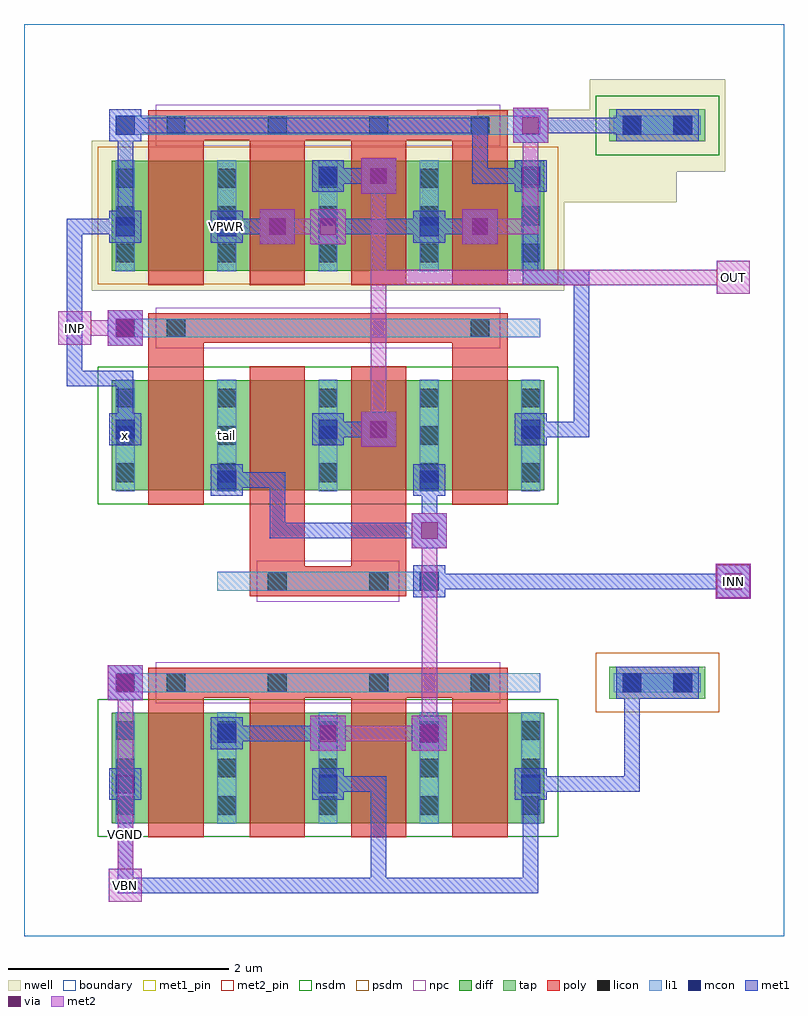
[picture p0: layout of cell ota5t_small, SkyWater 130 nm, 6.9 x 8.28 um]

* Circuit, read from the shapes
.subckt ota5t_small INN INP OUT VBN VGND VPWR tail x
XM1 tail VBN VGND VGND sky130_fd_pr__nfet_01v8 w=1 l=0.5 m=4
XM2 tail INP x VGND sky130_fd_pr__nfet_01v8 w=1 l=0.5 m=2
XM3 OUT INN tail VGND sky130_fd_pr__nfet_01v8 w=1 l=0.5 m=2
XM4 VPWR x x VPWR sky130_fd_pr__pfet_01v8 w=1 l=0.5 m=2
XM5 OUT x VPWR VPWR sky130_fd_pr__pfet_01v8 w=1 l=0.5 m=2
.ends

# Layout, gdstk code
import gdstk
lib = gdstk.Library(unit=1e-6, precision=1e-09)
def R(c, l, rs):  # rectangles x0, y0, x1, y1
    for r in rs: c.add(gdstk.rectangle(r[:2], r[2:], *l))
def A(c, l, x, y, w, h, nx, ny, dx, dy):  # array of equal rectangles
    R(c, l, [(x+i*dx, y+j*dy, x+i*dx+w, y+j*dy+h) for i in range(nx) for j in range(ny)])
nwell = (64, 20)
diff = (65, 20)
tap = (65, 44)
poly = (66, 20)
licon = (66, 44)
li1 = (67, 20)
mcon = (67, 44)
met1_pin = (68, 16)
met1 = (68, 20)
via = (68, 44)
met2_pin = (69, 16)
met2 = (69, 20)
nsdm = (93, 44)
psdm = (94, 20)
npc = (95, 20)
boundary = (235, 4)

ota5t_small = lib.new_cell('ota5t_small')
R(ota5t_small, nwell, [(0.615,5.86,4.905,6.66), (0.615,6.66,5.927,6.94), (0.615,6.94,6.365,7.22), (4.113,7.22,6.365,7.5), (5.135,7.5,6.365,7.78)])
R(ota5t_small, diff, [(0.795,1.025,4.725,2.025), (0.795,4.045,4.725,5.045), (0.795,6.04,4.725,7.04)])
R(ota5t_small, tap, [(5.315,2.155,6.185,2.445), (5.315,7.215,6.185,7.505)])
A(ota5t_small, poly, 1.13, 0.895, 0.5, 1.405, 4, 1, 0.92, 0)
A(ota5t_small, poly, 1.13, 5.91, 0.5, 1.45, 4, 1, 0.92, 0)
R(ota5t_small, poly, [(1.13,2.165,4.39,2.435), (2.05,3.085,3.47,3.355), (2.05,3.22,2.55,5.175), (2.97,3.22,3.47,5.175), (1.13,3.915,1.63,5.52), (3.89,3.915,4.39,5.52), (1.13,5.385,4.39,5.655), (1.13,7.225,4.39,7.495)])
A(ota5t_small, licon, 0.835, 1.1, 0.17, 0.17, 5, 3, 0.92, 0.34)
A(ota5t_small, licon, 1.295, 2.215, 0.17, 0.17, 4, 2, 0.92, 5.06)
A(ota5t_small, licon, 0.835, 4.12, 0.17, 0.17, 5, 3, 0.92, 0.34)
A(ota5t_small, licon, 0.835, 6.115, 0.17, 0.17, 5, 3, 0.92, 0.34)
R(ota5t_small, licon, [(5.435,2.215,5.605,2.385), (5.895,2.215,6.065,2.385), (2.215,3.135,2.385,3.305), (3.135,3.135,3.305,3.305), (1.295,5.435,1.465,5.605), (4.055,5.435,4.225,5.605), (5.435,7.275,5.605,7.445), (5.895,7.275,6.065,7.445)])
A(ota5t_small, li1, 0.835, 1.02, 0.17, 1.01, 5, 2, 0.92, 3.02)
A(ota5t_small, li1, 0.835, 6.035, 0.17, 1.01, 5, 1, 0.92, 0)
R(ota5t_small, li1, [(0.835,2.215,4.685,2.385), (5.355,2.215,6.145,2.385), (1.755,3.135,3.765,3.305), (0.835,5.435,4.685,5.605), (0.835,7.275,4.685,7.445), (5.355,7.275,6.145,7.445)])
A(ota5t_small, mcon, 0.835, 1.295, 0.17, 0.17, 3, 2, 1.84, 3.22)
A(ota5t_small, mcon, 1.755, 1.755, 0.17, 0.17, 1, 3, 0, 2.3)
A(ota5t_small, mcon, 0.835, 5.435, 0.17, 0.17, 1, 3, 0, 0.92)
R(ota5t_small, mcon, [(3.595,1.755,3.765,1.925), (0.835,2.215,1.005,2.385), (5.435,2.215,5.605,2.385), (5.895,2.215,6.065,2.385), (3.595,3.135,3.765,3.305), (3.595,4.055,3.765,4.225), (3.595,6.355,3.765,6.525), (2.675,6.815,2.845,6.985), (4.515,6.815,4.685,6.985), (5.435,7.275,5.605,7.445), (5.895,7.275,6.065,7.445)])
R(ota5t_small, met1_pin, [(0.85,0.39,0.99,1.45), (1.695,6.295,1.985,6.585)])
A(ota5t_small, met1, 0.775, 1.235, 0.29, 0.29, 3, 2, 1.84, 3.22)
A(ota5t_small, met1, 1.695, 1.695, 0.29, 0.29, 1, 3, 0, 2.3)
A(ota5t_small, met1, 0.775, 5.375, 0.29, 0.29, 1, 3, 0, 0.92)
R(ota5t_small, met1, [(0.85,0.39,0.99,1.45), (0.85,0.39,3.29,0.53), (3.15,0.39,4.67,0.53), (3.15,0.39,3.29,1.45), (4.53,0.39,4.67,1.45), (2.69,1.31,3.29,1.45), (4.53,1.31,5.59,1.45), (5.45,1.31,5.59,2.37), (2.6,1.68,2.92,2), (3.52,1.68,3.84,2), (3.535,1.695,3.825,1.985), (1.77,1.77,2.83,1.91), (0.76,2.14,1.08,2.46), (0.775,2.155,1.065,2.445), (5.375,2.155,6.125,2.445), (5.45,2.23,5.59,2.37), (6.28,3.06,6.6,3.38), (3.535,3.075,3.825,3.365), (3.61,3.15,6.51,3.29), (3.52,3.52,3.84,3.84), (2.23,3.61,2.37,4.21), (2.23,3.61,3.75,3.75), (3.61,3.61,3.75,4.21), (3.535,3.995,3.825,4.285), (1.77,4.07,2.37,4.21), (3.06,4.44,3.38,4.76), (0.85,4.53,0.99,5.13), (2.69,4.53,3.29,4.67), (4.53,4.53,5.13,4.67), (4.99,4.53,5.13,6.05), (0.39,4.99,0.99,5.13), (0.39,4.99,0.53,6.51), (0.76,5.36,1.08,5.68), (4.53,5.91,5.13,6.05), (4.53,5.91,4.67,6.97), (2.14,6.28,2.46,6.6), (2.6,6.28,2.92,6.6), (3.98,6.28,4.3,6.6), (3.535,6.295,3.825,6.585), (0.39,6.37,0.99,6.51), (0.85,6.37,0.99,7.43), (1.77,6.37,2.37,6.51), (2.69,6.37,3.75,6.51), (3.61,6.37,4.21,6.51), (3.06,6.74,3.38,7.06), (2.615,6.755,2.905,7.045), (4.455,6.755,4.745,7.045), (2.69,6.83,3.29,6.97), (4.07,6.83,4.67,6.97), (4.07,6.83,4.21,7.43), (4.44,7.2,4.76,7.52), (5.375,7.215,6.125,7.505), (0.85,7.29,4.21,7.43), (4.53,7.29,5.59,7.43), (5.45,7.29,5.59,7.43)])
R(ota5t_small, via, [(2.685,1.765,2.835,1.915), (3.605,1.765,3.755,1.915), (0.845,2.225,0.995,2.375), (6.365,3.145,6.515,3.295), (3.605,3.605,3.755,3.755), (3.145,4.525,3.295,4.675), (0.845,5.445,0.995,5.595), (2.225,6.365,2.375,6.515), (2.685,6.365,2.835,6.515), (4.065,6.365,4.215,6.515), (3.145,6.825,3.295,6.975), (4.525,7.285,4.675,7.435)])
R(ota5t_small, met2_pin, [(0.77,0.31,1.07,0.61), (6.29,3.07,6.59,3.37), (0.31,5.37,0.61,5.67), (6.29,5.83,6.59,6.13)])
R(ota5t_small, met2, [(0.77,0.31,1.07,0.61), (0.85,0.39,0.99,2.37), (0.85,0.39,0.99,0.53), (2.6,1.68,2.92,2), (3.52,1.68,3.84,2), (2.69,1.77,3.75,1.91), (3.61,1.77,3.75,3.75), (0.76,2.14,1.08,2.46), (6.28,3.06,6.6,3.38), (6.29,3.07,6.59,3.37), (6.37,3.15,6.51,3.29), (3.52,3.52,3.84,3.84), (3.06,4.44,3.38,4.76), (3.15,4.53,3.29,6.97), (0.76,5.36,1.08,5.68), (0.31,5.37,0.61,5.67), (0.39,5.45,0.99,5.59), (0.39,5.45,0.53,5.59), (6.29,5.83,6.59,6.13), (3.15,5.91,6.51,6.05), (6.37,5.91,6.51,6.05), (2.14,6.28,2.46,6.6), (2.6,6.28,2.92,6.6), (3.98,6.28,4.3,6.6), (2.23,6.37,2.83,6.51), (4.07,6.37,4.67,6.51), (4.53,6.37,4.67,7.43), (3.06,6.74,3.38,7.06), (4.44,7.2,4.76,7.52)])
R(ota5t_small, nsdm, [(0.67,0.9,4.85,2.15), (0.67,3.92,4.85,5.17), (5.19,7.09,6.31,7.63)])
R(ota5t_small, psdm, [(5.19,2.03,6.31,2.57), (0.67,5.915,4.85,7.165)])
R(ota5t_small, npc, [(1.195,2.115,4.325,2.485), (2.115,3.035,3.405,3.405), (1.195,5.335,4.325,5.705), (1.195,7.175,4.325,7.545)])
R(ota5t_small, boundary, [(0,0,6.9,8.28)])
ota5t_small.add(gdstk.Label('x', (0.92,4.545), layer=67, texttype=5))
ota5t_small.add(gdstk.Label('tail', (1.84,4.545), layer=67, texttype=5))
ota5t_small.add(gdstk.Label('VPWR', (1.84,6.44), layer=68, texttype=5))
ota5t_small.add(gdstk.Label('VGND', (0.92,0.92), layer=68, texttype=5))
ota5t_small.add(gdstk.Label('INP', (0.46,5.52), layer=69, texttype=5))
ota5t_small.add(gdstk.Label('INN', (6.44,3.22), layer=69, texttype=5))
ota5t_small.add(gdstk.Label('VBN', (0.92,0.46), layer=69, texttype=5))
ota5t_small.add(gdstk.Label('OUT', (6.44,5.98), layer=69, texttype=5))
ota5t_small.add(gdstk.Label('VPWR', (1.84,6.44), layer=68, texttype=16))
ota5t_small.add(gdstk.Label('VGND', (0.92,0.92), layer=68, texttype=16))
ota5t_small.add(gdstk.Label('INP', (0.46,5.52), layer=69, texttype=16))
ota5t_small.add(gdstk.Label('INN', (6.44,3.22), layer=69, texttype=16))
ota5t_small.add(gdstk.Label('VBN', (0.92,0.46), layer=69, texttype=16))
ota5t_small.add(gdstk.Label('OUT', (6.44,5.98), layer=69, texttype=16))

lib.write_gds('ota5t_small.gds')
